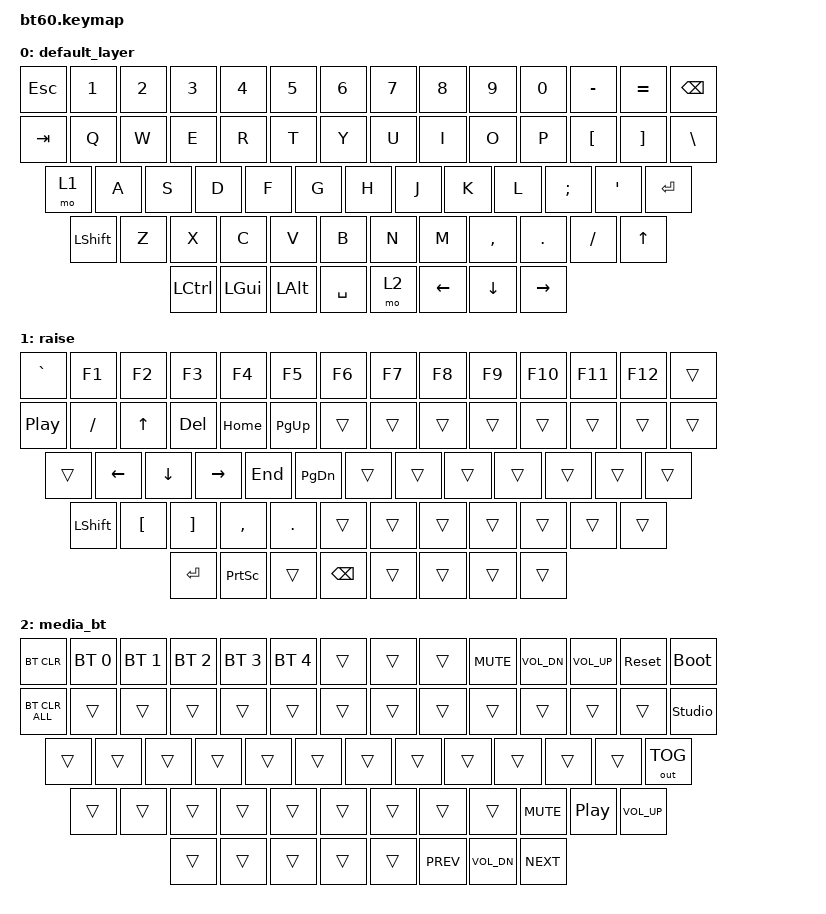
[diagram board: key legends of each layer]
#include <behaviors.dtsi>
#include <dt-bindings/zmk/keys.h>
#include <dt-bindings/zmk/bt.h>
#include <dt-bindings/zmk/outputs.h>

/ {
    chosen {
        zmk,matrix-transform = &default_transform;
    };
};

/ {
    keymap {
        compatible = "zmk,keymap";
            // ------------------------------------------------------------------------------------------
            // | ESC |  1  |  2  |  3  |  4  |  5  |  6  |  7  |  8  |  9  |  0  |  -  |  =  |   BKSP   |
            // | TAB  |  Q  |  W  |  E  |  R  |  T  |  Y  |  U  |  I  |  O  |  P  |  [  |  ]  |   "|"    |
            // | CAPS  |  A  |  S  |  D  |  F  |  G  |  H  |  J  |  K  |  L  |  ;  |  '  |     ENTER    |
            // |  SHIFT  |  Z  |  X  |  C  |  V  |  B  |  N  |  M  |  ,  |  .  |  /  |      SHIFT       |
            // |  CTL  |  WIN  |  ALT  |                     SPACE               | ALT | WIN | MO(1) | CTL |
            // ------------------------------------------------------------------------------------------
        default_layer { bindings = < &kp ESC   &kp N1   &kp N2 &kp N3 &kp N4 &kp N5 &kp N6 &kp N7 &kp N8 &kp N9    &kp N0   &kp MINUS &kp EQUAL &kp BSPC
                                     &kp TAB   &kp Q    &kp W  &kp E  &kp R  &kp T  &kp Y  &kp U  &kp I  &kp O     &kp P    &kp LBKT  &kp RBKT  &kp BSLH
                                     &mo 1     &kp A    &kp S  &kp D  &kp F  &kp G  &kp H  &kp J  &kp K  &kp L     &kp SEMI &kp SQT             &kp ENTER
                                     &kp LSHFT          &kp Z  &kp X  &kp C  &kp V  &kp B  &kp N  &kp M  &kp COMMA &kp DOT  &kp FSLH  &kp UP
                                     &kp LCTRL &kp LGUI &kp LALT               &kp SPACE                                    &mo 2     &kp LEFT &kp DOWN &kp RIGHT  >;
        };

        raise         { bindings = < &kp GRAVE &kp F1          &kp F2    &kp F3    &kp F4    &kp F5    &kp F6 &kp F7 &kp F8 &kp F9 &kp F10 &kp F11 &kp F12 &trans
                                     &kp C_PP  &kp FSLH        &kp UP    &kp DEL   &kp HOME  &kp PG_UP &trans &trans &trans &trans &trans  &trans  &trans  &trans
                                     &trans    &kp LEFT        &kp DOWN  &kp RIGHT &kp END   &kp PG_DN &trans &trans &trans &trans &trans  &trans          &trans
                                     &kp LSHFT &kp LBKT        &kp RBKT  &kp COMMA &kp DOT   &trans    &trans &trans &trans &trans &trans          &trans
                                     &kp ENTER &kp PRINTSCREEN &trans                &kp BSPC                                       &trans  &trans &trans  &trans  >;
        };

        media_bt      { bindings = < &bt BT_CLR     &bt BT_SEL 0 &bt BT_SEL 1 &bt BT_SEL 2 &bt BT_SEL 3 &bt BT_SEL 4 &trans &trans &trans &kp C_MUTE &kp C_VOL_DN &kp C_VOL_UP &sys_reset   &bootloader
                                     &bt BT_CLR_ALL &trans       &trans       &trans       &trans       &trans       &trans &trans &trans &trans     &trans       &trans       &trans       &studio_unlock
                                     &trans         &trans       &trans       &trans       &trans       &trans       &trans &trans &trans &trans     &trans       &trans                    &out OUT_TOG
                                     &trans         &trans       &trans       &trans       &trans       &trans       &trans &trans &trans &kp C_MUTE &kp C_PP     &kp C_VOL_UP
                                     &trans         &trans       &trans                  &trans                                                      &trans       &kp C_PREV   &kp C_VOL_DN &kp C_NEXT  >;
        };
    };
};
